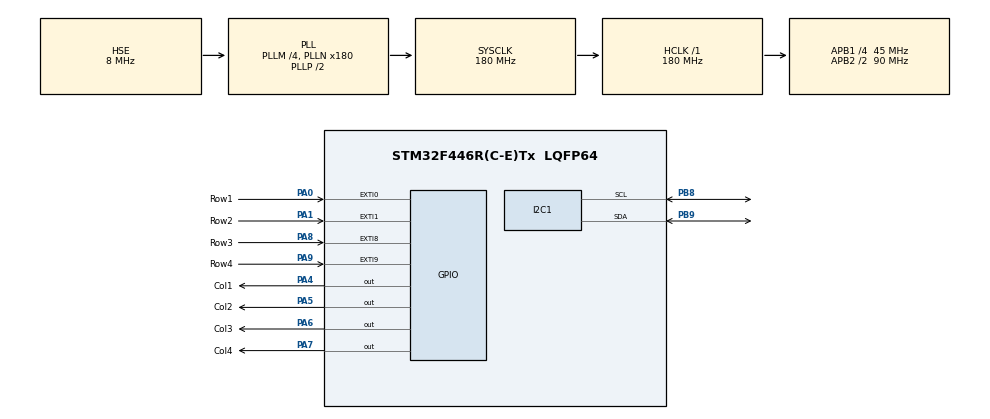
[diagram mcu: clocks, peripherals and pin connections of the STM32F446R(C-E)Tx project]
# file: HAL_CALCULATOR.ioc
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Mcu.Family=STM32F4
Mcu.Name=STM32F446R(C-E)Tx
Mcu.Package=LQFP64
NVIC.EXTI0_IRQn=true\:0\:0\:false\:false\:true\:true\:true
NVIC.EXTI1_IRQn=true\:0\:0\:false\:false\:true\:true\:true
NVIC.EXTI9_5_IRQn=true\:0\:0\:false\:false\:true\:true\:true
NVIC.PriorityGroup=NVIC_PRIORITYGROUP_4
PA0-WKUP.GPIO_Label=Row1
PA0-WKUP.GPIO_PuPd=GPIO_PULLDOWN
PA0-WKUP.Signal=GPXTI0
PA1.GPIO_Label=Row2
PA1.GPIO_PuPd=GPIO_PULLDOWN
PA1.Signal=GPXTI1
PA4.GPIO_Label=Col1
PA4.Signal=GPIO_Output
PA5.GPIO_Label=Col2
PA5.Signal=GPIO_Output
PA6.GPIO_Label=Col3
PA6.Signal=GPIO_Output
PA7.GPIO_Label=Col4
PA7.Signal=GPIO_Output
PA8.GPIO_Label=Row3
PA8.GPIO_PuPd=GPIO_PULLDOWN
PA8.Signal=GPXTI8
PA9.GPIO_Label=Row4
PA9.GPIO_PuPd=GPIO_PULLDOWN
PA9.Signal=GPXTI9
PB8.Mode=I2C
PB8.Signal=I2C1_SCL
PB9.Mode=I2C
PB9.Signal=I2C1_SDA
PH0-OSC_IN.Mode=HSE-External-Oscillator
PH0-OSC_IN.Signal=RCC_OSC_IN
PH1-OSC_OUT.Mode=HSE-External-Oscillator
PH1-OSC_OUT.Signal=RCC_OSC_OUT
ProjectManager.HeapSize=0x200
ProjectManager.StackSize=0x400
ProjectManager.TargetToolchain=STM32CubeIDE
RCC.AHBFreq_Value=180000000
RCC.APB1CLKDivider=RCC_HCLK_DIV4
RCC.APB1Freq_Value=45000000
RCC.APB1TimFreq_Value=90000000
RCC.APB2CLKDivider=RCC_HCLK_DIV2
RCC.APB2Freq_Value=90000000
RCC.APB2TimFreq_Value=180000000
RCC.CortexFreq_Value=180000000
RCC.HCLKFreq_Value=180000000
RCC.HSE_VALUE=8000000
RCC.PLLM=4
RCC.PLLN=180
RCC.PLLSourceVirtual=RCC_PLLSOURCE_HSE
RCC.SYSCLKFreq_VALUE=180000000
RCC.SYSCLKSource=RCC_SYSCLKSOURCE_PLLCLK
RCC.USBFreq_Value=180000000
RCC.VCOOutputFreq_Value=360000000
board=custom

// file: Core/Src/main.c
/* USER CODE BEGIN Header */
/**
  ******************************************************************************
  * @file           : main.c
  * @brief          : Main program body
  ******************************************************************************
  * @attention
  *
  * <h2><center>&copy; Copyright (c) 2020 STMicroelectronics.
  * All rights reserved.</center></h2>
  *
  * This software component is licensed by ST under BSD 3-Clause license,
  * the "License"; You may not use this file except in compliance with the
  * License. You may obtain a copy of the License at:
  *                        opensource.org/licenses/BSD-3-Clause
  *
  ******************************************************************************
  */
/* USER CODE END Header */
#include "main.h"

/* USER CODE BEGIN Includes */
#include "i2c-lcd.h"
/* USER CODE END Includes */

I2C_HandleTypeDef hi2c1;

/* USER CODE BEGIN PV */
uint8_t counter=0;
char key,temp;
/* USER CODE END PV */

void SystemClock_Config(void);
static void MX_GPIO_Init(void);
static void MX_I2C1_Init(void);
/* USER CODE BEGIN PFP */

char Read_Key()
{
	counter = 0;
	if (counter ==0){
		HAL_GPIO_WritePin(GPIOA, Col4_Pin, GPIO_PIN_RESET);
		HAL_GPIO_WritePin(GPIOA, Col1_Pin, GPIO_PIN_SET);

		if(EXTI->PR &(1<<0)){
			lcd_clear();
			temp='1';
			return '1';
		}
		else if (EXTI->PR & (1<<1)){
			lcd_clear();
			temp='2';
			return '2';
		}
		else if (EXTI->PR & (1<<8)) {
			lcd_clear();
			temp='3';
			return '3';
		} else if (EXTI->PR & (1<<9)) {
			lcd_clear();
			temp='A';
			return 'A';
		}
		else
			counter++;
	}
	 if (counter == 1) {
		HAL_GPIO_WritePin(GPIOA, Col1_Pin, GPIO_PIN_RESET);
		HAL_GPIO_WritePin(GPIOA, Col2_Pin, GPIO_PIN_SET);

		if (EXTI->PR &(1<<0)){
			lcd_clear();
			temp='4';
			return '4';

		}else if (EXTI->PR &(1<<1)){
			lcd_clear();
			temp='5';
			return '5';

		}else if (EXTI->PR &(1<<8)){
			lcd_clear();
			temp='6';
			return '6';

		}else if (EXTI->PR &(1<<9)){
			lcd_clear();
			temp='B';
			return 'B';
		}else
			counter++;
	}
	 if (counter == 2) {
		HAL_GPIO_WritePin(GPIOA, Col2_Pin, GPIO_PIN_RESET);
		HAL_GPIO_WritePin(GPIOA, Col3_Pin, GPIO_PIN_SET);

		if (EXTI->PR &(1<<0)){
			lcd_clear();
			temp='7';
			return '7';
		}else if (EXTI->PR &(1<<1)){
			lcd_clear();
			temp='8';
			return '8';
		}else if (EXTI->PR &(1<<8)){
			lcd_clear();
			temp='9';
			return '9';
		}else if (EXTI->PR &(1<<9)){
			lcd_clear();
			temp='C';
			return 'C';
		}else
			counter++;
	}
	 if (counter == 3) {
		HAL_GPIO_WritePin(GPIOA, Col3_Pin, GPIO_PIN_RESET);
		HAL_GPIO_WritePin(GPIOA, Col4_Pin, GPIO_PIN_SET);

		if (EXTI->PR &(1<<0)){
			lcd_clear();
			temp='*';
			return '*';
		}else if (EXTI->PR &(1<<1)){
			lcd_clear();
			temp='0';
			return '0';
		} else if (EXTI->PR &(1<<8)){
			lcd_clear();
			temp='#';
			return '#';
		}else if (EXTI->PR &(1<<9)){
			lcd_clear();
			temp='D';
			return 'D';
		} else
			counter=0;
	}
	 lcd_put_cur(0, 0);
	 return temp;
}
/* USER CODE END PFP */

int main(void)
{

  /* MCU Configuration--------------------------------------------------------*/

  /* Reset of all peripherals, Initializes the Flash interface and the Systick. */
  HAL_Init();

  /* Configure the system clock */
  SystemClock_Config();

  /* Initialize all configured peripherals */
  MX_GPIO_Init();
  MX_I2C1_Init();
  /* USER CODE BEGIN 2 */
  lcd_init();
  /* USER CODE END 2 */

  /* Infinite loop */
  /* USER CODE BEGIN WHILE */
  while (1)
  {

	  key=Read_Key();
	  if(key==temp)
		  lcd_send_data(key);

    /* USER CODE END WHILE */

  }
}

void SystemClock_Config(void)
{
  RCC_OscInitTypeDef RCC_OscInitStruct = {0};
  RCC_ClkInitTypeDef RCC_ClkInitStruct = {0};

  /** Configure the main internal regulator output voltage
  */
  __HAL_RCC_PWR_CLK_ENABLE();
  __HAL_PWR_VOLTAGESCALING_CONFIG(PWR_REGULATOR_VOLTAGE_SCALE1);
  /** Initializes the RCC Oscillators according to the specified parameters
  * in the RCC_OscInitTypeDef structure.
  */
  RCC_OscInitStruct.OscillatorType = RCC_OSCILLATORTYPE_HSE;
  RCC_OscInitStruct.HSEState = RCC_HSE_ON;
  RCC_OscInitStruct.PLL.PLLState = RCC_PLL_ON;
  RCC_OscInitStruct.PLL.PLLSource = RCC_PLLSOURCE_HSE;
  RCC_OscInitStruct.PLL.PLLM = 4;
  RCC_OscInitStruct.PLL.PLLN = 180;
  RCC_OscInitStruct.PLL.PLLP = RCC_PLLP_DIV2;
  RCC_OscInitStruct.PLL.PLLQ = 2;
  RCC_OscInitStruct.PLL.PLLR = 2;
  if (HAL_RCC_OscConfig(&RCC_OscInitStruct) != HAL_OK)
  {
    Error_Handler();
  }
  /** Activate the Over-Drive mode
  */
  if (HAL_PWREx_EnableOverDrive() != HAL_OK)
  {
    Error_Handler();
  }
  /** Initializes the CPU, AHB and APB buses clocks
  */
  RCC_ClkInitStruct.ClockType = RCC_CLOCKTYPE_HCLK|RCC_CLOCKTYPE_SYSCLK
                              |RCC_CLOCKTYPE_PCLK1|RCC_CLOCKTYPE_PCLK2;
  RCC_ClkInitStruct.SYSCLKSource = RCC_SYSCLKSOURCE_PLLCLK;
  RCC_ClkInitStruct.AHBCLKDivider = RCC_SYSCLK_DIV1;
  RCC_ClkInitStruct.APB1CLKDivider = RCC_HCLK_DIV4;
  RCC_ClkInitStruct.APB2CLKDivider = RCC_HCLK_DIV2;

  if (HAL_RCC_ClockConfig(&RCC_ClkInitStruct, FLASH_LATENCY_5) != HAL_OK)
  {
    Error_Handler();
  }
}

static void MX_I2C1_Init(void)
{

  hi2c1.Instance = I2C1;
  hi2c1.Init.ClockSpeed = 100000;
  hi2c1.Init.DutyCycle = I2C_DUTYCYCLE_2;
  hi2c1.Init.OwnAddress1 = 0;
  hi2c1.Init.AddressingMode = I2C_ADDRESSINGMODE_7BIT;
  hi2c1.Init.DualAddressMode = I2C_DUALADDRESS_DISABLE;
  hi2c1.Init.OwnAddress2 = 0;
  hi2c1.Init.GeneralCallMode = I2C_GENERALCALL_DISABLE;
  hi2c1.Init.NoStretchMode = I2C_NOSTRETCH_DISABLE;
  if (HAL_I2C_Init(&hi2c1) != HAL_OK)
  {
    Error_Handler();
  }

}

static void MX_GPIO_Init(void)
{
  GPIO_InitTypeDef GPIO_InitStruct = {0};

  /* GPIO Ports Clock Enable */
  __HAL_RCC_GPIOH_CLK_ENABLE();
  __HAL_RCC_GPIOA_CLK_ENABLE();
  __HAL_RCC_GPIOB_CLK_ENABLE();

  /*Configure GPIO pin Output Level */
  HAL_GPIO_WritePin(GPIOA, Col1_Pin|Col2_Pin|Col3_Pin|Col4_Pin, GPIO_PIN_RESET);

  /*Configure GPIO pins : Row1_Pin Row2_Pin Row3_Pin Row4_Pin */
  GPIO_InitStruct.Pin = Row1_Pin|Row2_Pin|Row3_Pin|Row4_Pin;
  GPIO_InitStruct.Mode = GPIO_MODE_IT_RISING;
  GPIO_InitStruct.Pull = GPIO_PULLDOWN;
  HAL_GPIO_Init(GPIOA, &GPIO_InitStruct);

  /*Configure GPIO pins : Col1_Pin Col2_Pin Col3_Pin Col4_Pin */
  GPIO_InitStruct.Pin = Col1_Pin|Col2_Pin|Col3_Pin|Col4_Pin;
  GPIO_InitStruct.Mode = GPIO_MODE_OUTPUT_PP;
  GPIO_InitStruct.Pull = GPIO_NOPULL;
  GPIO_InitStruct.Speed = GPIO_SPEED_FREQ_LOW;
  HAL_GPIO_Init(GPIOA, &GPIO_InitStruct);

  /* EXTI interrupt init*/
  HAL_NVIC_SetPriority(EXTI0_IRQn, 0, 0);
  HAL_NVIC_EnableIRQ(EXTI0_IRQn);

  HAL_NVIC_SetPriority(EXTI1_IRQn, 0, 0);
  HAL_NVIC_EnableIRQ(EXTI1_IRQn);

  HAL_NVIC_SetPriority(EXTI9_5_IRQn, 0, 0);
  HAL_NVIC_EnableIRQ(EXTI9_5_IRQn);

}

void Error_Handler(void)
{
}

/************************ (C) COPYRIGHT STMicroelectronics *****END OF FILE****/
